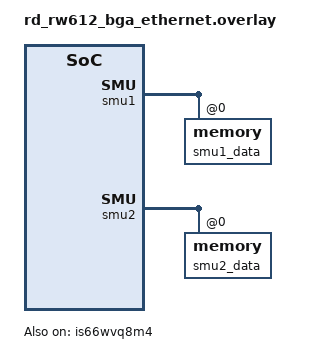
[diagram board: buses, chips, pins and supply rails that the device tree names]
/*
 * Copyright 2023 NXP
 *
 * SPDX-License-Identifier: Apache-2.0
 */

&smu1 {
	smu1_data: memory@0 {
		/delete-property/ zephyr,memory-attr;
	};
};

&smu2 {
	smu2_data: memory@0 {
		/delete-property/ zephyr,memory-attr;
	};
};

/ {
	chosen {
		zephyr,flash = &sram_code;
	};

	aliases {
		sram-ext = &is66wvq8m4;
	};
};

&is66wvq8m4 {
	status = "okay";
};
